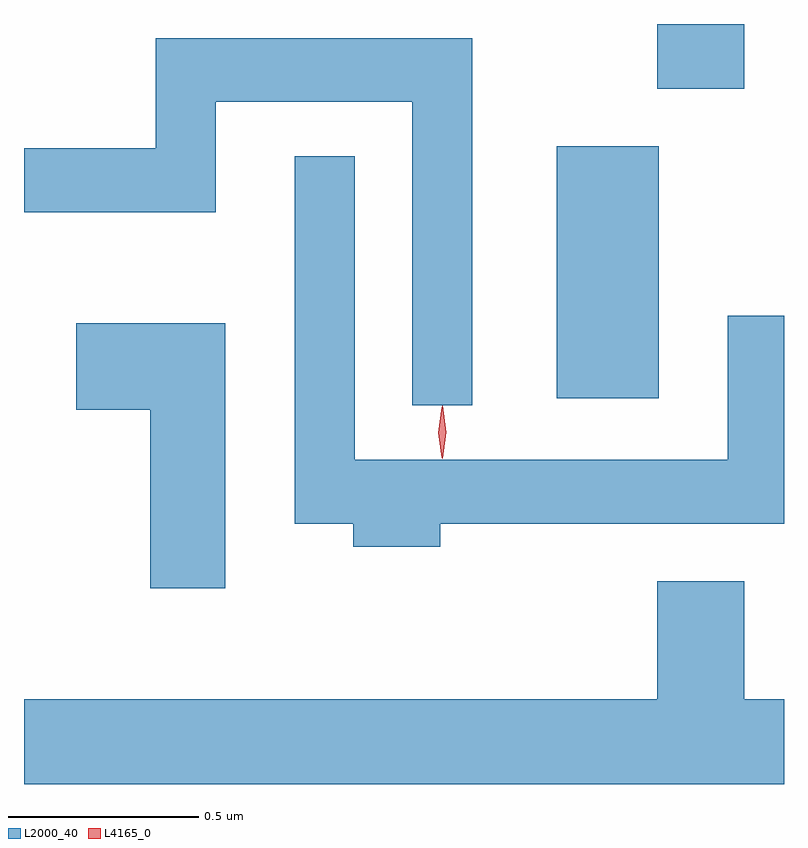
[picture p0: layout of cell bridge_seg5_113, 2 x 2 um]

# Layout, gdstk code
import gdstk
lib = gdstk.Library(unit=1e-6, precision=1e-09)
def R(c, l, rs):  # rectangles x0, y0, x1, y1
    for r in rs: c.add(gdstk.rectangle(r[:2], r[2:], *l))
def P(c, l, *ps):  # polygons
    for p in ps: c.add(gdstk.Polygon(p, *l))
L2000_40 = (2000, 40)
L4165_0 = (4165, 0)

bridge_seg5_113 = lib.new_cell('bridge_seg5_113')
R(bridge_seg5_113, L2000_40, [(1187.246,1504.476,1187.514,1505.139), (1187.511,1505.291,1187.739,1505.461)])
P(bridge_seg5_113, L2000_40, [(1187.024,1505.424),(1186.191,1505.424),(1186.191,1505.134),(1185.844,1505.134),(1185.844,1504.966),(1186.349,1504.966),(1186.349,1505.256),(1186.866,1505.256),(1186.866,1504.458),(1187.024,1504.458)],
  [(1186.939,1504.146),(1187.844,1504.146),(1187.844,1504.693),(1187.696,1504.693),(1187.696,1504.314),(1186.714,1504.314),(1186.714,1505.113),(1186.556,1505.113),(1186.556,1504.146),(1186.711,1504.146),(1186.711,1504.086),(1186.939,1504.086)],
  [(1186.374,1504.674),(1185.981,1504.674),(1185.981,1504.446),(1186.176,1504.446),(1186.176,1503.976),(1186.374,1503.976)],
  [(1187.844,1503.684),(1187.739,1503.684),(1187.739,1503.994),(1187.511,1503.994),(1187.511,1503.684),(1185.844,1503.684),(1185.844,1503.461),(1187.844,1503.461)])
P(bridge_seg5_113, L4165_0, [(1186.945,1504.317),(1186.944,1504.318),(1186.935,1504.387),(1186.944,1504.456),(1186.945,1504.456),(1186.946,1504.456),(1186.955,1504.387),(1186.946,1504.318)],
  [(1186.943,1504.32),(1186.934,1504.386),(1186.943,1504.452),(1186.944,1504.453),(1186.944,1504.452),(1186.954,1504.386),(1186.944,1504.32),(1186.944,1504.32)])

lib.write_gds('bridge_seg5_113.gds')
